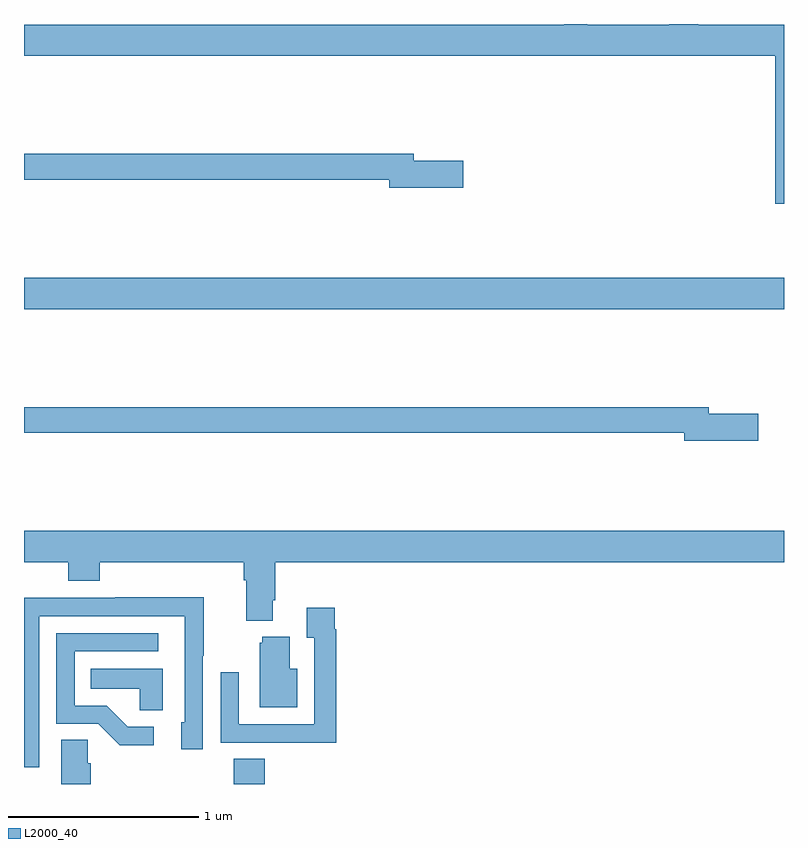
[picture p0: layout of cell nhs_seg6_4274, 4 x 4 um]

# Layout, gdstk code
import gdstk
lib = gdstk.Library(unit=1e-6, precision=1e-09)
def R(c, l, rs):  # rectangles x0, y0, x1, y1
    for r in rs: c.add(gdstk.rectangle(r[:2], r[2:], *l))
def P(c, l, *ps):  # polygons
    for p in ps: c.add(gdstk.Polygon(p, *l))
L2000_40 = (2000, 40)

nhs_seg6_4274 = lib.new_cell('nhs_seg6_4274')
R(nhs_seg6_4274, L2000_40, [(364.103,947.5,364.268,947.633), (363,950,367,950.164)])
P(nhs_seg6_4274, L2000_40, [(367,951.496),(366.548,951.496),(366.548,951.5),(366.395,951.5),(366.395,951.496),(365.965,951.496),(365.965,951.5),(365.844,951.5),(365.844,951.496),(363,951.496),(363,951.332),(366.953,951.332),(366.953,950.553),(367,950.553)],
  [(365.311,950.78),(365.05,950.78),(365.05,950.816),(363,950.816),(363,950.68),(364.922,950.68),(364.922,950.638),(365.311,950.638)],
  [(366.865,949.448),(366.604,949.448),(366.604,949.484),(363,949.484),(363,949.348),(366.476,949.348),(366.476,949.306),(366.865,949.306)],
  [(364.309,948.466),(364.322,948.466),(364.322,948.668),(367,948.668),(367,948.832),(363,948.832),(363,948.668),(363.233,948.668),(363.233,948.569),(363.398,948.569),(363.398,948.668),(364.157,948.668),(364.157,948.572),(364.169,948.572),(364.169,948.359),(364.309,948.359)],
  [(363.081,948.384),(363.846,948.384),(363.846,947.826),(363.827,947.826),(363.827,947.682),(363.942,947.682),(363.942,948.175),(363.945,948.175),(363.945,948.482),(363.481,948.482),(363.481,948.48),(363,948.48),(363,947.589),(363.081,947.589)],
  [(364.643,948.314),(364.636,948.314),(364.636,948.427),(364.487,948.427),(364.487,948.271),(364.527,948.271),(364.527,947.814),(364.131,947.814),(364.131,948.088),(364.035,948.088),(364.035,947.718),(364.351,947.718),(364.351,947.717),(364.643,947.717)],
  [(363.682,947.802),(363.547,947.802),(363.436,947.913),(363.267,947.913),(363.267,948.198),(363.706,948.198),(363.706,948.294),(363.171,948.294),(363.171,947.817),(363.39,947.817),(363.503,947.705),(363.682,947.705)],
  [(364.438,948.106),(364.399,948.106),(364.399,948.274),(364.253,948.274),(364.253,948.243),(364.241,948.243),(364.241,947.903),(364.438,947.903)],
  [(363.73,948.106),(363.352,948.106),(363.352,948.002),(363.609,948.002),(363.609,947.887),(363.73,947.887)],
  [(363.336,947.609),(363.336,947.732),(363.197,947.732),(363.197,947.5),(363.35,947.5),(363.35,947.609)])

lib.write_gds('nhs_seg6_4274.gds')
